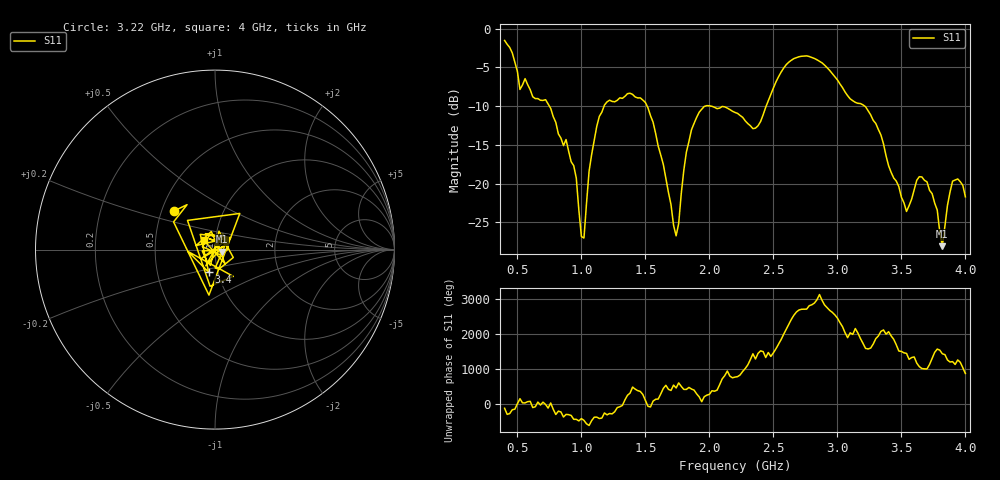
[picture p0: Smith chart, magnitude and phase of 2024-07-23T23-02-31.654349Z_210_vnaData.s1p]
!Created with skrf (http://scikit-rf.org).
# Hz S RI R 50.0
!freq ReS11 ImS11
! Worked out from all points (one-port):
!   181 points, 400 MHz to 4 GHz, reference 50 ohm
!   lowest |S11| = -28.1 dB at 3.82 GHz (marker M1), VSWR 1.08, Z = 53.9 - j1.17 ohm
!   |S11| at or under -10 dB: 1.514 GHz to 1.968 GHz (454.5 MHz wide, 26.1 % of centre); 2.012 GHz to 2.443 GHz (431.2 MHz wide, 19.4 % of centre); 3.213 GHz to end of sweep (the widest 3 of 4)
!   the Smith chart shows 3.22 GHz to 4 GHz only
!   S11 on the Smith chart (normalised r, x): 3.22 GHz: 0.58, +0.28; 3.4 GHz: 0.90, -0.23; 4 GHz: 0.88, +0.09
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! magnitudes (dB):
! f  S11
! 400 MHz  -1.5
! 520 MHz  -7.9
! 720 MHz  -9.2
! 860 MHz  -15.1
! 940 MHz  -17.7
! 1 GHz  -26.8
! 1.02 GHz  -27.0
! 1.06 GHz  -18.4
! 1.12 GHz  -12.6
! 1.3 GHz  -8.9
! 1.52 GHz  -10.2
! 1.74 GHz  -26.7
! 1.76 GHz  -25.1
! 1.82 GHz  -15.9
! 1.92 GHz  -10.8
! 2.2 GHz  -10.8
! 2.36 GHz  -12.8
! 2.66 GHz  -3.9
! 2.88 GHz  -4.4
! 3.1 GHz  -9.1
! 3.22 GHz  -10.1
! 3.4 GHz  -17.7
! 3.56 GHz  -22.8
! 3.64 GHz  -19.1
! 3.7 GHz  -19.8
! 3.82 GHz  -28.1
! 3.9 GHz  -19.7
! 4 GHz  -21.7
